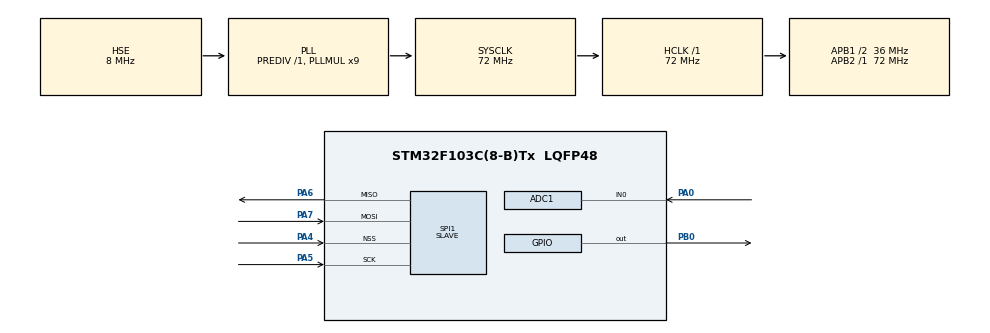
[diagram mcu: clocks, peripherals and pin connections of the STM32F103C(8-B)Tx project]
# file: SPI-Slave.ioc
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ADC1.Channel-0\#ChannelRegularConversion=ADC_CHANNEL_0
ADC1.NbrOfConversion=1
ADC1.NbrOfConversionFlag=1
ADC1.Rank-0\#ChannelRegularConversion=1
ADC1.SamplingTime-0\#ChannelRegularConversion=ADC_SAMPLETIME_1CYCLE_5
ADC1.master=1
Mcu.Family=STM32F1
Mcu.Name=STM32F103C(8-B)Tx
Mcu.Package=LQFP48
NVIC.PriorityGroup=NVIC_PRIORITYGROUP_4
NVIC.SPI1_IRQn=true\:0\:0\:false\:false\:true\:true\:true\:true
PA0-WKUP.Signal=ADCx_IN0
PA13.Mode=Serial_Wire
PA13.Signal=SYS_JTMS-SWDIO
PA14.Mode=Serial_Wire
PA14.Signal=SYS_JTCK-SWCLK
PA4.Mode=NSS_Signal_Hard_Input
PA4.Signal=SPI1_NSS
PA5.Mode=Full_Duplex_Slave
PA5.Signal=SPI1_SCK
PA6.Mode=Full_Duplex_Slave
PA6.Signal=SPI1_MISO
PA7.Mode=Full_Duplex_Slave
PA7.Signal=SPI1_MOSI
PB0.Signal=GPIO_Output
PD0-OSC_IN.Mode=HSE-External-Oscillator
PD0-OSC_IN.Signal=RCC_OSC_IN
PD1-OSC_OUT.Mode=HSE-External-Oscillator
PD1-OSC_OUT.Signal=RCC_OSC_OUT
ProjectManager.HeapSize=0x200
ProjectManager.StackSize=0x400
ProjectManager.TargetToolchain=MDK-ARM V5.32
RCC.ADCPresc=RCC_ADCPCLK2_DIV6
RCC.AHBFreq_Value=72000000
RCC.APB1CLKDivider=RCC_HCLK_DIV2
RCC.APB1Freq_Value=36000000
RCC.APB1TimFreq_Value=72000000
RCC.APB2Freq_Value=72000000
RCC.APB2TimFreq_Value=72000000
RCC.HCLKFreq_Value=72000000
RCC.PLLMUL=RCC_PLL_MUL9
RCC.PLLSourceVirtual=RCC_PLLSOURCE_HSE
RCC.SYSCLKFreq_VALUE=72000000
RCC.SYSCLKSource=RCC_SYSCLKSOURCE_PLLCLK
RCC.USBFreq_Value=72000000
SH.ADCx_IN0.0=ADC1_IN0,IN0
SPI1.Direction=SPI_DIRECTION_2LINES
SPI1.Mode=SPI_MODE_SLAVE
SPI1.VirtualNSS=VM_NSSHARD
SPI1.VirtualType=VM_SLAVE
board=custom

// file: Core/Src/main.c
/* USER CODE BEGIN Header */
/**
  ******************************************************************************
  * @file           : main.c
  * @brief          : Main program body
  ******************************************************************************
  * @attention
  *
  * Copyright (c) 2026 STMicroelectronics.
  * All rights reserved.
  *
  * This software is licensed under terms that can be found in the LICENSE file
  * in the root directory of this software component.
  * If no LICENSE file comes with this software, it is provided AS-IS.
  *
  ******************************************************************************
  */
/* USER CODE END Header */
#include "main.h"

/* USER CODE BEGIN PD */
uint8_t test;
/* USER CODE END PD */

ADC_HandleTypeDef hadc1;

SPI_HandleTypeDef hspi1;

/* USER CODE BEGIN PV */
/* USER CODE BEGIN 0 */

#define SPI_READ        0x00
#define SPI_WRITE       0x80
#define REGISTER_LED    0x01

#define REGISTER_VALUE  0x02

uint8_t slave_regs[128] = {0};
uint8_t rx_buf[2] = {0};
uint8_t tx_buf[2] = {0};

uint16_t Value = 1000;

void SPI_Slave_Process(void)
{
    // Luôn pre-load Value vào tx_buf TRU?C khi ch? SPI -> không ph? thu?c l?nh tru?c dó
    tx_buf[0] = (uint8_t)((Value >> 8) & 0xFF);
    tx_buf[1] = (uint8_t)(Value & 0xFF);

    if (HAL_SPI_TransmitReceive(&hspi1, tx_buf, rx_buf, 2, HAL_MAX_DELAY) == HAL_OK)
    {
        uint8_t cmd  = rx_buf[0];
        uint8_t data = rx_buf[1];
        uint8_t rw   = cmd & 0x80;
        uint8_t addr = cmd & 0x7F;

        if (rw == SPI_WRITE)
        {
            slave_regs[addr] = data;
            if (addr == REGISTER_LED)
            {
                HAL_GPIO_WritePin(GPIOB, GPIO_PIN_0,
                    (data == 0x01) ? GPIO_PIN_SET : GPIO_PIN_RESET);
            }
            // Reset l?i tx_buf v? Value cho l?n k? ti?p (phòng khi addr WRITE dè tx_buf)
            tx_buf[0] = (uint8_t)((Value >> 8) & 0xFF);
            tx_buf[1] = (uint8_t)(Value & 0xFF);
        }
        // Không c?n else n?a vì tx_buf dã pre-load s?n r?i
    }
}

/* USER CODE END 0 */
/* USER CODE END PV */

void SystemClock_Config(void);
static void MX_GPIO_Init(void);
static void MX_ADC1_Init(void);
static void MX_SPI1_Init(void);
/* USER CODE BEGIN PFP */

int main(void)
{

  /* MCU Configuration--------------------------------------------------------*/

  /* Reset of all peripherals, Initializes the Flash interface and the Systick. */
  HAL_Init();

  /* Configure the system clock */
  SystemClock_Config();

  /* Initialize all configured peripherals */
  MX_GPIO_Init();
  MX_ADC1_Init();
  MX_SPI1_Init();

  /* Infinite loop */
  while (1)
  {

    /* USER CODE BEGIN 3 */
		SPI_Slave_Process();
	//	HAL_GPIO_WritePin(GPIOB, GPIO_PIN_0, GPIO_PIN_SET);
  }
  /* USER CODE END 3 */
}

void SystemClock_Config(void)
{
  RCC_OscInitTypeDef RCC_OscInitStruct = {0};
  RCC_ClkInitTypeDef RCC_ClkInitStruct = {0};
  RCC_PeriphCLKInitTypeDef PeriphClkInit = {0};

  /** Initializes the RCC Oscillators according to the specified parameters
  * in the RCC_OscInitTypeDef structure.
  */
  RCC_OscInitStruct.OscillatorType = RCC_OSCILLATORTYPE_HSE;
  RCC_OscInitStruct.HSEState = RCC_HSE_ON;
  RCC_OscInitStruct.HSEPredivValue = RCC_HSE_PREDIV_DIV1;
  RCC_OscInitStruct.HSIState = RCC_HSI_ON;
  RCC_OscInitStruct.PLL.PLLState = RCC_PLL_ON;
  RCC_OscInitStruct.PLL.PLLSource = RCC_PLLSOURCE_HSE;
  RCC_OscInitStruct.PLL.PLLMUL = RCC_PLL_MUL9;
  if (HAL_RCC_OscConfig(&RCC_OscInitStruct) != HAL_OK)
  {
    Error_Handler();
  }

  /** Initializes the CPU, AHB and APB buses clocks
  */
  RCC_ClkInitStruct.ClockType = RCC_CLOCKTYPE_HCLK|RCC_CLOCKTYPE_SYSCLK
                              |RCC_CLOCKTYPE_PCLK1|RCC_CLOCKTYPE_PCLK2;
  RCC_ClkInitStruct.SYSCLKSource = RCC_SYSCLKSOURCE_PLLCLK;
  RCC_ClkInitStruct.AHBCLKDivider = RCC_SYSCLK_DIV1;
  RCC_ClkInitStruct.APB1CLKDivider = RCC_HCLK_DIV2;
  RCC_ClkInitStruct.APB2CLKDivider = RCC_HCLK_DIV1;

  if (HAL_RCC_ClockConfig(&RCC_ClkInitStruct, FLASH_LATENCY_2) != HAL_OK)
  {
    Error_Handler();
  }
  PeriphClkInit.PeriphClockSelection = RCC_PERIPHCLK_ADC;
  PeriphClkInit.AdcClockSelection = RCC_ADCPCLK2_DIV6;
  if (HAL_RCCEx_PeriphCLKConfig(&PeriphClkInit) != HAL_OK)
  {
    Error_Handler();
  }
}

static void MX_ADC1_Init(void)
{

  ADC_ChannelConfTypeDef sConfig = {0};

  /** Common config
  */
  hadc1.Instance = ADC1;
  hadc1.Init.ScanConvMode = ADC_SCAN_DISABLE;
  hadc1.Init.ContinuousConvMode = DISABLE;
  hadc1.Init.DiscontinuousConvMode = DISABLE;
  hadc1.Init.ExternalTrigConv = ADC_SOFTWARE_START;
  hadc1.Init.DataAlign = ADC_DATAALIGN_RIGHT;
  hadc1.Init.NbrOfConversion = 1;
  if (HAL_ADC_Init(&hadc1) != HAL_OK)
  {
    Error_Handler();
  }

  /** Configure Regular Channel
  */
  sConfig.Channel = ADC_CHANNEL_0;
  sConfig.Rank = ADC_REGULAR_RANK_1;
  sConfig.SamplingTime = ADC_SAMPLETIME_1CYCLE_5;
  if (HAL_ADC_ConfigChannel(&hadc1, &sConfig) != HAL_OK)
  {
    Error_Handler();
  }

}

static void MX_SPI1_Init(void)
{

  /* SPI1 parameter configuration*/
  hspi1.Instance = SPI1;
  hspi1.Init.Mode = SPI_MODE_SLAVE;
  hspi1.Init.Direction = SPI_DIRECTION_2LINES;
  hspi1.Init.DataSize = SPI_DATASIZE_8BIT;
  hspi1.Init.CLKPolarity = SPI_POLARITY_LOW;
  hspi1.Init.CLKPhase = SPI_PHASE_1EDGE;
  hspi1.Init.NSS = SPI_NSS_HARD_INPUT;
  hspi1.Init.FirstBit = SPI_FIRSTBIT_MSB;
  hspi1.Init.TIMode = SPI_TIMODE_DISABLE;
  hspi1.Init.CRCCalculation = SPI_CRCCALCULATION_DISABLE;
  hspi1.Init.CRCPolynomial = 10;
  if (HAL_SPI_Init(&hspi1) != HAL_OK)
  {
    Error_Handler();
  }

}

static void MX_GPIO_Init(void)
{
  GPIO_InitTypeDef GPIO_InitStruct = {0};

  /* GPIO Ports Clock Enable */
  __HAL_RCC_GPIOD_CLK_ENABLE();
  __HAL_RCC_GPIOA_CLK_ENABLE();
  __HAL_RCC_GPIOB_CLK_ENABLE();

  /*Configure GPIO pin Output Level */
  HAL_GPIO_WritePin(GPIOB, GPIO_PIN_0, GPIO_PIN_RESET);

  /*Configure GPIO pin : PB0 */
  GPIO_InitStruct.Pin = GPIO_PIN_0;
  GPIO_InitStruct.Mode = GPIO_MODE_OUTPUT_PP;
  GPIO_InitStruct.Pull = GPIO_NOPULL;
  GPIO_InitStruct.Speed = GPIO_SPEED_FREQ_LOW;
  HAL_GPIO_Init(GPIOB, &GPIO_InitStruct);

}

void Error_Handler(void)
{
  __disable_irq();
  while (1)
  {
  }
}
